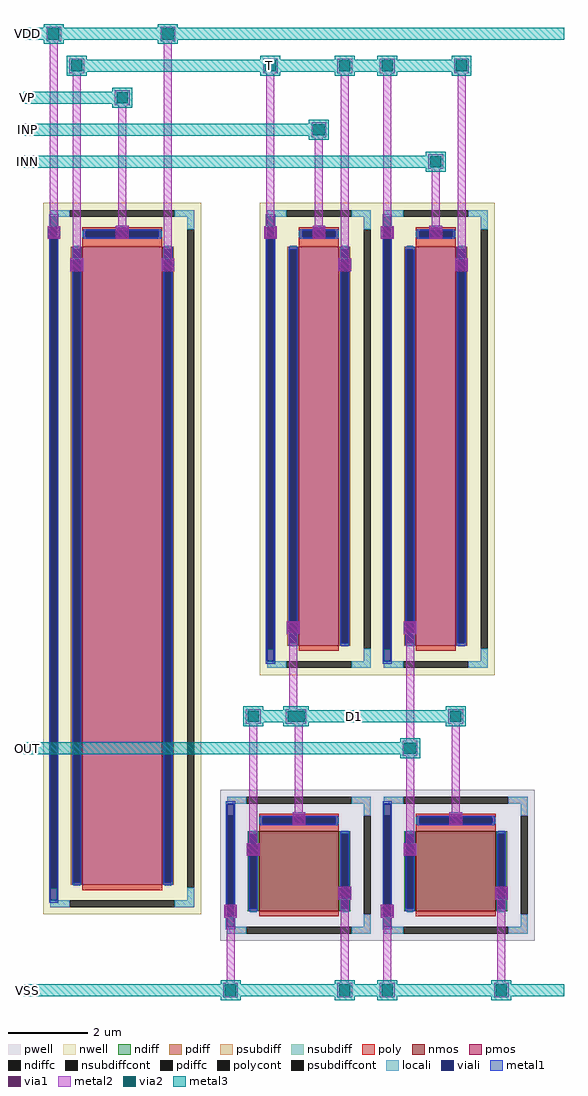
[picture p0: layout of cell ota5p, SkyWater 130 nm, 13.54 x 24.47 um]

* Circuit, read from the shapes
.subckt ota5p INP INN OUT VP VDD VSS
XM1 VSS D1 D1 VSS sky130_fd_pr__nfet_01v8 w=2 l=2
XM2 VSS D1 OUT VSS sky130_fd_pr__nfet_01v8 w=2 l=2
XM3 VDD VP T VDD sky130_fd_pr__pfet_01v8 w=16 l=2
XM4 T INP D1 T sky130_fd_pr__pfet_01v8 w=10 l=1
XM5 T INN OUT T sky130_fd_pr__pfet_01v8 w=10 l=1
.ends

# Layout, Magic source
magic
tech sky130A
magscale 1 2
use pfet_botc0_guard1_l2_nf1_topc1_viagl100_w16  MT
transform 1 0 543 0 1 2263
box -396 -1784 396 1784
use pfet_botc0_guard1_l1_nf1_topc1_viagl100_w10  M1
transform 1 0 1529 0 1 2863
box -296 -1184 296 1184
use pfet_botc0_guard1_l1_nf1_topc1_viagl100_w10  M2
transform 1 0 2115 0 1 2863
box -296 -1184 296 1184
use nfet_botc0_guard1_l2_nf1_topc1_viagl100_w2  M3
transform 1 0 1429 0 1 726
box -396 -379 396 379
use nfet_botc0_guard1_l2_nf1_topc1_viagl100_w2  M4
transform 1 0 2215 0 1 726
box -396 -379 396 379
<< metal1 >>
rect 740 3705 804 3769
rect 168 3867 232 3931
rect 511 3868 575 3932
rect 282 3705 346 3769
rect 1497 3868 1561 3932
rect 1626 3705 1690 3769
rect 1254 3867 1318 3931
rect 1368 1885 1432 1949
rect 2083 3868 2147 3932
rect 2212 3705 2276 3769
rect 1840 3867 1904 3931
rect 1954 1885 2018 1949
rect 1397 927 1461 991
rect 1168 773 1232 837
rect 1626 553 1690 617
rect 1054 463 1118 527
rect 2183 927 2247 991
rect 1954 773 2018 837
rect 2412 553 2476 617
rect 1840 463 1904 527
<< metal2 >>
rect 740 3705 804 3769
rect 752 3737 792 4894
rect 735 4857 809 4931
rect 168 3867 232 3931
rect 180 3899 220 4894
rect 163 4857 237 4931
rect 511 3868 575 3932
rect 523 3900 563 4574
rect 506 4537 580 4611
rect 282 3705 346 3769
rect 294 3737 334 4734
rect 277 4697 351 4771
rect 1497 3868 1561 3932
rect 1509 3900 1549 4414
rect 1492 4377 1566 4451
rect 1626 3705 1690 3769
rect 1638 3737 1678 4734
rect 1621 4697 1695 4771
rect 1254 3867 1318 3931
rect 1266 3899 1306 4734
rect 1249 4697 1323 4771
rect 1368 1885 1432 1949
rect 1380 1472 1420 1917
rect 1363 1435 1437 1509
rect 2083 3868 2147 3932
rect 2095 3900 2135 4254
rect 2078 4217 2152 4291
rect 2212 3705 2276 3769
rect 2224 3737 2264 4734
rect 2207 4697 2281 4771
rect 1840 3867 1904 3931
rect 1852 3899 1892 4734
rect 1835 4697 1909 4771
rect 1954 1885 2018 1949
rect 1966 1312 2006 1917
rect 1949 1275 2023 1349
rect 1397 927 1461 991
rect 1409 959 1449 1472
rect 1392 1435 1466 1509
rect 1168 773 1232 837
rect 1180 805 1220 1472
rect 1163 1435 1237 1509
rect 1626 553 1690 617
rect 1638 100 1678 585
rect 1621 63 1695 137
rect 1054 463 1118 527
rect 1066 100 1106 495
rect 1049 63 1123 137
rect 2183 927 2247 991
rect 2195 959 2235 1472
rect 2178 1435 2252 1509
rect 1954 773 2018 837
rect 1966 805 2006 1312
rect 1949 1275 2023 1349
rect 2412 553 2476 617
rect 2424 100 2464 585
rect 2407 63 2481 137
rect 1840 463 1904 527
rect 1852 100 1892 495
rect 1835 63 1909 137
rect 1400 1435 1429 1509
<< metal3 >>
rect 722 4844 822 4944
rect 150 4844 250 4944
rect 493 4524 593 4624
rect 264 4684 364 4784
rect 1479 4364 1579 4464
rect 1608 4684 1708 4784
rect 1236 4684 1336 4784
rect 1350 1422 1450 1522
rect 2065 4204 2165 4304
rect 2194 4684 2294 4784
rect 1822 4684 1922 4784
rect 1936 1262 2036 1362
rect 1379 1422 1479 1522
rect 1150 1422 1250 1522
rect 1608 50 1708 150
rect 1036 50 1136 150
rect 2165 1422 2265 1522
rect 1936 1262 2036 1362
rect 2394 50 2494 150
rect 1822 50 1922 150
rect 50 70 2758 130
rect 50 4864 2758 4924
rect 1200 1442 2215 1502
rect 50 1282 1986 1342
rect 50 4544 543 4604
rect 50 4224 2115 4284
rect 50 4384 1529 4444
rect 314 4704 2244 4764
<< via1 >>
rect 746 3711 798 3763
rect 174 3873 226 3925
rect 517 3874 569 3926
rect 288 3711 340 3763
rect 1503 3874 1555 3926
rect 1632 3711 1684 3763
rect 1260 3873 1312 3925
rect 1374 1891 1426 1943
rect 2089 3874 2141 3926
rect 2218 3711 2270 3763
rect 1846 3873 1898 3925
rect 1960 1891 2012 1943
rect 1403 933 1455 985
rect 1174 779 1226 831
rect 1632 559 1684 611
rect 1060 469 1112 521
rect 2189 933 2241 985
rect 1960 779 2012 831
rect 2418 559 2470 611
rect 1846 469 1898 521
<< via2 >>
rect 744 4866 800 4922
rect 172 4866 228 4922
rect 515 4546 571 4602
rect 286 4706 342 4762
rect 1501 4386 1557 4442
rect 1630 4706 1686 4762
rect 1258 4706 1314 4762
rect 1372 1444 1428 1500
rect 2087 4226 2143 4282
rect 2216 4706 2272 4762
rect 1844 4706 1900 4762
rect 1958 1284 2014 1340
rect 1401 1444 1457 1500
rect 1172 1444 1228 1500
rect 1630 72 1686 128
rect 1058 72 1114 128
rect 2187 1444 2243 1500
rect 1958 1284 2014 1340
rect 2416 72 2472 128
rect 1844 72 1900 128
<< labels >>
flabel metal3 1688 1452 1728 1492 0 FreeSans 400 0 0 0 D1
flabel metal3 1259 4714 1299 4754 0 FreeSans 400 0 0 0 T
flabel metal3 50 4394 90 4434 0 FreeSans 400 0 0 0 INP
port 1 nsew signal bidirectional
flabel metal3 50 4234 90 4274 0 FreeSans 400 0 0 0 INN
port 2 nsew signal bidirectional
flabel metal3 50 1292 90 1332 0 FreeSans 400 0 0 0 OUT
port 3 nsew signal bidirectional
flabel metal3 50 4554 90 4594 0 FreeSans 400 0 0 0 VP
port 4 nsew signal bidirectional
flabel metal3 50 4874 90 4914 0 FreeSans 400 0 0 0 VDD
port 5 nsew power bidirectional
flabel metal3 50 80 90 120 0 FreeSans 400 0 0 0 VSS
port 6 nsew ground bidirectional
<< end >>

# cell pfet_botc0_guard1_l2_nf1_topc1_viagl100_w16: kit device sky130_fd_pr__pfet_01v8, w 16 l 2 m 1 nf 1 diffcov 100 polycov 100 guard 1 glc 1 grc 1 gtc 1 gbc 1 tbcov 100 rlcov 100 topc 1 botc 0 poverlap 0 doverlap 1 lmin 0.15 wmin 0.42 class mosfet compatible {sky130_fd_pr__pfet_01v8 sky130_fd_pr__pfet_01v8_lvt sky130_fd_pr__pfet_01v8_hvt sky130_fd_pr__pfet_g5v0d10v5} full_metal 1 conn_gates 0 viasrc 100 viadrn 100 viagate 100 viagb 0 viagr 0 viagl 100 viagt 0 doports 1

# cell pfet_botc0_guard1_l1_nf1_topc1_viagl100_w10: kit device sky130_fd_pr__pfet_01v8, w 10 l 1 m 1 nf 1 diffcov 100 polycov 100 guard 1 glc 1 grc 1 gtc 1 gbc 1 tbcov 100 rlcov 100 topc 1 botc 0 poverlap 0 doverlap 1 lmin 0.15 wmin 0.42 class mosfet compatible {sky130_fd_pr__pfet_01v8 sky130_fd_pr__pfet_01v8_lvt sky130_fd_pr__pfet_01v8_hvt sky130_fd_pr__pfet_g5v0d10v5} full_metal 1 conn_gates 0 viasrc 100 viadrn 100 viagate 100 viagb 0 viagr 0 viagl 100 viagt 0 doports 1

# cell nfet_botc0_guard1_l2_nf1_topc1_viagl100_w2: kit device sky130_fd_pr__nfet_01v8, w 2 l 2 m 1 nf 1 diffcov 100 polycov 100 guard 1 glc 1 grc 1 gtc 1 gbc 1 tbcov 100 rlcov 100 topc 1 botc 0 poverlap 0 doverlap 1 lmin 0.15 wmin 0.42 class mosfet compatible {sky130_fd_pr__nfet_01v8 sky130_fd_pr__nfet_01v8_lvt sky130_fd_bs_flash__special_sonosfet_star sky130_fd_pr__nfet_g5v0d10v5 sky130_fd_pr__nfet_05v0_nvt sky130_fd_pr__nfet_03v3_nvt} full_metal 1 conn_gates 0 viasrc 100 viadrn 100 viagate 100 viagb 0 viagr 0 viagl 100 viagt 0 doports 1
